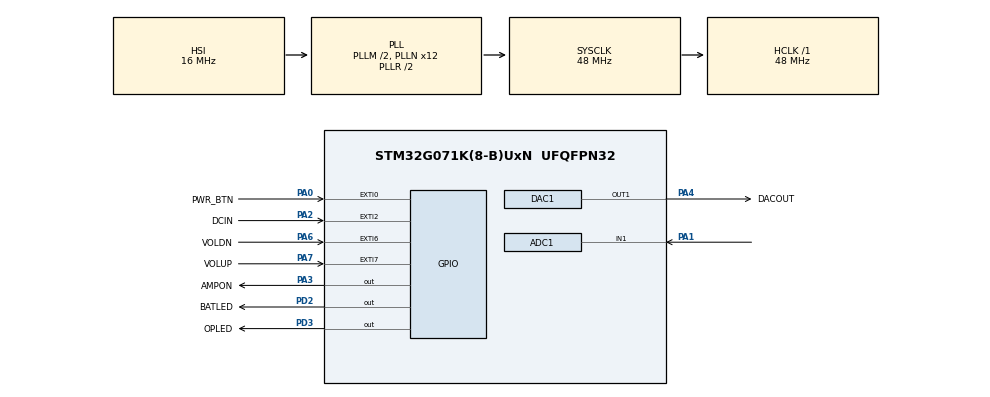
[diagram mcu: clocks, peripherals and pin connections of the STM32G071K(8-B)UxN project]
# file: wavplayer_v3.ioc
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Mcu.Family=STM32G0
RCC.CortexFreq_Value=48000000
PA0.GPIO_Label=PWR_BTN
PA14-BOOT0.Mode=Serial_Wire
VP_RTC_VS_RTC_Activate.Mode=RTC_Enabled
PA6.GPIO_Label=VOLDN
PC15-OSC32_OUT\ (PC15).Mode=LSE-External-Oscillator
ADC1.SamplingTimeCommon1=ADC_SAMPLETIME_160CYCLES_5
VP_RTC_VS_RTC_Alarm_A_Intern.Mode=Alarm A
RCC.SYSCLKSource=RCC_SYSCLKSOURCE_PLLCLK
ProjectManager.StackSize=0x400
PC14-OSC32_IN\ (PC14).Mode=LSE-External-Oscillator
RTC.Seconds_A-Alarm\ A=0
RCC.HCLKFreq_Value=48000000
TIM3.Period=10000-1
RCC.AHBFreq_Value=48000000
PA14-BOOT0.Signal=SYS_SWCLK
ADC1.Channel-0\#ChannelRegularConversion=ADC_CHANNEL_1
RCC.HSE_VALUE=8000000
RCC.RTCClockSelection=RCC_RTCCLKSOURCE_LSE
PA6.GPIO_PuPd=GPIO_PULLDOWN
TIM3.Prescaler=4800-1
NVIC.TIM2_IRQn=true\:0\:0\:false\:false\:true\:true\:true
VP_SYS_VS_DBSignals.Mode=DisableDeadBatterySignals
ADC1.SamplingTime-0\#ChannelRegularConversion=ADC_SAMPLINGTIME_COMMON_1
RTC.Hours_A-Alarm\ A=8
PA0.Signal=GPXTI0
ADC1.SelectedChannel=ADC_CHANNEL_1
Mcu.Package=UFQFPN32
PA6.Signal=GPXTI6
PA0.GPIO_PuPd=GPIO_NOPULL
PA2.GPIO_Label=DCIN
VP_RTC_VS_RTC_Calendar.Mode=RTC_Calendar
PD3.GPIO_Label=OPLED
PA4.GPIO_Label=DACOUT
VP_TIM3_VS_ClockSourceINT.Mode=Internal
NVIC.EXTI4_15_IRQn=true\:0\:0\:false\:false\:true\:true\:true
PA3.Signal=GPIO_Output
ADC1.Rank-0\#ChannelRegularConversion=1
DAC1.DAC_Channel-DAC_OUT1=DAC_CHANNEL_1
PD3.Signal=GPIO_Output
NVIC.RTC_TAMP_IRQn=true\:0\:0\:false\:false\:true\:true\:true
RCC.EXTERNAL_CLOCK_VALUE=48000
PC15-OSC32_OUT\ (PC15).Signal=RCC_OSC32_OUT
PA13.Signal=SYS_SWDIO
ProjectManager.TargetToolchain=STM32CubeIDE
SH.COMP_DAC11_group.0=DAC1_OUT1,DAC_OUT1
PA7.GPIO_PuPd=GPIO_PULLDOWN
PA1.Signal=ADC1_IN1
board=custom
RCC.VCOOutputFreq_Value=96000000
NVIC.TIM3_IRQn=true\:0\:0\:false\:false\:true\:true\:true
PA1.Mode=IN1
VP_TIM2_VS_ClockSourceINT.Mode=Internal
RCC.ADCFreq_Value=48000000
TIM2.Period=1000-1
PA13.Mode=Serial_Wire
Mcu.Name=STM32G071K(8-B)UxN
RTC.Alarm-Alarm\ A=RTC_ALARM_A
PA2.Signal=GPXTI2
PA4.Signal=COMP_DAC11_group
RCC.SYSCLKFreq_VALUE=48000000
RTC.Hours=0
PA7.GPIO_Label=VOLUP
ADC1.master=1
PC14-OSC32_IN\ (PC14).Signal=RCC_OSC32_IN
ProjectManager.HeapSize=0x200
RCC.HSI_VALUE=16000000
ADC1.NbrOfConversionFlag=1
RCC.PLLM=RCC_PLLM_DIV2
RCC.PLLN=12
PA3.PinState=GPIO_PIN_SET
PD2.Signal=GPIO_Output
NVIC.ADC1_COMP_IRQn=true\:0\:0\:false\:false\:true\:true\:true
PD2.GPIO_Label=BATLED
PA3.GPIO_Label=AMPON
PA7.Signal=GPXTI7
NVIC.EXTI0_1_IRQn=true\:0\:0\:false\:false\:true\:true\:true

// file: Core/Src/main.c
/* USER CODE BEGIN Header */
/**
  ******************************************************************************
  * @file           : main.c
  * @brief          : Main program body
  ******************************************************************************
  * @attention
  *
  * <h2><center>&copy; Copyright (c) 2021 STMicroelectronics.
  * All rights reserved.</center></h2>
  *
  * This software component is licensed by ST under BSD 3-Clause license,
  * the "License"; You may not use this file except in compliance with the
  * License. You may obtain a copy of the License at:
  *                        opensource.org/licenses/BSD-3-Clause
  *
  ******************************************************************************
  */
/* USER CODE END Header */
#include "main.h"

/* USER CODE BEGIN Includes */
#include "test_wav.h"

/* USER CODE END Includes */

/* USER CODE BEGIN PTD */
typedef enum {
  TASK_INIT = 0,
  TASK_IDLE,
  TASK_CHARGE,
  TASK_PLAY,
} task_t;
typedef struct {
  task_t task;

  bool pwrPressed;
  bool battCheck;

  uint32_t volume_level;
} app_t;

/* USER CODE END PTD */

/* USER CODE BEGIN PD */
#define VOLUME_MIN 0
#define VOLUME_MAX 4
#define FLASH_PAGE_NUM 62
#define ADDR_VOLUME_LEVEL (FLASH_PAGE_NUM * FLASH_PAGE_SIZE + FLASH_BASE)

#define ADCVAL_CHARGED 1966
#define ADCVAL_LOWPWR 1592
#define ADCVAL_OFFPWR 1498

#define LED_ON(port, pin) HAL_GPIO_WritePin(port, pin, GPIO_PIN_SET)
#define LED_OFF(port, pin) HAL_GPIO_WritePin(port, pin, GPIO_PIN_RESET)
#define AMP_ON() HAL_GPIO_WritePin(AMPON_GPIO_Port, AMPON_Pin, GPIO_PIN_RESET)
#define AMP_OFF() HAL_GPIO_WritePin(AMPON_GPIO_Port, AMPON_Pin, GPIO_PIN_SET)

/* USER CODE END PD */

ADC_HandleTypeDef hadc1;

DAC_HandleTypeDef hdac1;

RTC_HandleTypeDef hrtc;

TIM_HandleTypeDef htim2;
TIM_HandleTypeDef htim3;

/* USER CODE BEGIN PV */
app_t app = {
  .task = TASK_INIT,

  .pwrPressed = false,
  .battCheck = false,

  .volume_level = VOLUME_MIN,
};

uint16_t adcValue = 2048;
uint16_t dacValue = 2048;
uint16_t ptr_dac = 0;
const uint8_t volume[5] = {10, 20, 30, 40, 50};

/* USER CODE END PV */

void SystemClock_Config(void);
static void MX_GPIO_Init(void);
static void MX_DAC1_Init(void);
static void MX_TIM2_Init(void);
static void MX_RTC_Init(void);
static void MX_ADC1_Init(void);
static void MX_TIM3_Init(void);

/* USER CODE BEGIN 0 */
void ledIndicate(void)
{
  LED_OFF(OPLED_GPIO_Port, OPLED_Pin); HAL_Delay(100);
  LED_ON(OPLED_GPIO_Port, OPLED_Pin); HAL_Delay(100);
  LED_OFF(OPLED_GPIO_Port, OPLED_Pin); HAL_Delay(100);
  LED_ON(OPLED_GPIO_Port, OPLED_Pin); HAL_Delay(100);
  LED_OFF(OPLED_GPIO_Port, OPLED_Pin); HAL_Delay(100);
}

void setGPIOsNothing(void)
{
  GPIO_InitTypeDef GPIO_InitStruct = {0};

  /*Configure GPIO pins : PAPin PAPin */
  GPIO_InitStruct.Pin = VOLUP_Pin|VOLDN_Pin;
  GPIO_InitStruct.Mode = GPIO_MODE_ANALOG;
  GPIO_InitStruct.Pull = GPIO_NOPULL;
  HAL_GPIO_Init(GPIOA, &GPIO_InitStruct);

  GPIO_InitStruct.Pin = AMPON_Pin;
  HAL_GPIO_Init(AMPON_GPIO_Port, &GPIO_InitStruct);

  GPIO_InitStruct.Pin = OPLED_Pin|BATLED_Pin;
  HAL_GPIO_Init(OPLED_GPIO_Port, &GPIO_InitStruct);

  /* EXTI interrupt init*/
  HAL_NVIC_DisableIRQ(EXTI4_15_IRQn);
}

void saveVolumeLevel(void)
{
  uint32_t error = 0;

  if (app.volume_level == *((__IO uint32_t*)ADDR_VOLUME_LEVEL)) {
    return;
  }

  HAL_FLASH_Unlock();
  FLASH_WaitForLastOperation(1000);
  __HAL_FLASH_CLEAR_FLAG(FLASH_FLAG_EOP|FLASH_FLAG_OPERR|FLASH_FLAG_PROGERR|
                        FLASH_FLAG_WRPERR|FLASH_FLAG_PGAERR|FLASH_FLAG_PGSERR);
  FLASH_EraseInitTypeDef FLASH_EraseInitStruct = {
    .TypeErase = FLASH_TYPEERASE_PAGES,
    .Page = FLASH_PAGE_NUM,
    .NbPages = 1,
    .Banks = FLASH_BANK_1
  };
  HAL_FLASHEx_Erase(&FLASH_EraseInitStruct, &error);
  FLASH_WaitForLastOperation(1000);
  HAL_FLASH_Program(FLASH_TYPEPROGRAM_DOUBLEWORD, ADDR_VOLUME_LEVEL, app.volume_level);
  HAL_FLASH_Lock();
  HAL_Delay(10);
}

void enterSleepMode(void)
{
  HAL_PWR_EnableWakeUpPin(PWR_WAKEUP_PIN1_HIGH | PWR_WAKEUP_PIN4_HIGH);
  __HAL_RCC_PWR_CLK_ENABLE();
  HAL_Delay(500);
  HAL_PWR_EnterSTOPMode(PWR_LOWPOWERREGULATOR_ON, PWR_STOPENTRY_WFE);
}

/* USER CODE END 0 */

int main(void)
{
  /* USER CODE BEGIN 1 */
  uint64_t flashTemp;

  /* USER CODE END 1 */

  /* MCU Configuration--------------------------------------------------------*/

  /* Reset of all peripherals, Initializes the Flash interface and the Systick. */
  HAL_Init();

  /* Configure the system clock */
  SystemClock_Config();

  /* Initialize all configured peripherals */
  MX_GPIO_Init();
  MX_DAC1_Init();
  MX_TIM2_Init();
  MX_RTC_Init();
  MX_ADC1_Init();
  MX_TIM3_Init();

  /* Infinite loop */
  while (1)
  {

    /* USER CODE BEGIN 3 */
    switch (app.task) {
      case TASK_INIT:
        flashTemp = *((__IO uint32_t*)ADDR_VOLUME_LEVEL);
        if (flashTemp >= VOLUME_MIN && flashTemp <= VOLUME_MAX) {
          app.volume_level = flashTemp;
        }

        AMP_ON();
        HAL_Delay(250);
        HAL_DAC_Start(&hdac1, DAC1_CHANNEL_1);
        HAL_TIM_Base_Start_IT(&htim2);

        HAL_ADC_Start_IT(&hadc1);
        HAL_TIM_Base_Start_IT(&htim3);

        if (HAL_GPIO_ReadPin(PWR_BTN_GPIO_Port, PWR_BTN_Pin) != GPIO_PIN_RESET) {
          app.task = TASK_PLAY;
        } else {
          if (HAL_GPIO_ReadPin(DCIN_GPIO_Port, DCIN_Pin) != GPIO_PIN_RESET) {
            app.task = TASK_CHARGE;
          } else {
            app.task = TASK_IDLE;
          }
        }
      break;
      case TASK_IDLE:
        while(ptr_dac != 0);
        HAL_TIM_Base_Stop_IT(&htim2);
        ptr_dac = 0;
        AMP_OFF();

        HAL_ADC_Stop_IT(&hadc1);
        HAL_TIM_Base_Stop_IT(&htim3);

        HAL_RTC_DeactivateAlarm(&hrtc, RTC_ALARM_A);

        ledIndicate();
        saveVolumeLevel();
        setGPIOsNothing();

        enterSleepMode();
        HAL_Delay(100);
        HAL_NVIC_SystemReset();
      break;
      case TASK_CHARGE:
        while(ptr_dac != 0);
        HAL_TIM_Base_Stop_IT(&htim2);
        ptr_dac = 0;
        AMP_OFF();

        while (app.task == TASK_CHARGE) {
          if (app.battCheck) {
            app.battCheck = false;
            if (adcValue >= ADCVAL_CHARGED) {
              LED_ON(OPLED_GPIO_Port, OPLED_Pin);
              LED_OFF(BATLED_GPIO_Port, BATLED_Pin);

            } else if (adcValue >= ADCVAL_LOWPWR) {
              LED_ON(OPLED_GPIO_Port, OPLED_Pin);
              LED_ON(BATLED_GPIO_Port, BATLED_Pin);

            } else if (adcValue >= ADCVAL_OFFPWR) {
              LED_OFF(OPLED_GPIO_Port, OPLED_Pin);
              LED_ON(BATLED_GPIO_Port, BATLED_Pin);

            } else if (adcValue < ADCVAL_OFFPWR) {
              for (int i = 0; i < 3; i++) {
                LED_OFF(BATLED_GPIO_Port, BATLED_Pin); HAL_Delay(200);
                LED_ON(BATLED_GPIO_Port, BATLED_Pin); HAL_Delay(200);
              }
              app.task = TASK_IDLE;
            }
          }

          if (app.pwrPressed) {
            app.pwrPressed = false;
            app.task = TASK_INIT;
          }

          if (HAL_GPIO_ReadPin(DCIN_GPIO_Port, DCIN_Pin) == GPIO_PIN_RESET) {
            app.task = TASK_INIT;
          }
        }
      break;
      case TASK_PLAY:

        if (app.battCheck) {
          app.battCheck = false;
          if (adcValue >= ADCVAL_CHARGED) {
            LED_ON(OPLED_GPIO_Port, OPLED_Pin);
            LED_OFF(BATLED_GPIO_Port, BATLED_Pin);

          } else if (adcValue >= ADCVAL_LOWPWR) {
            LED_ON(OPLED_GPIO_Port, OPLED_Pin);
            LED_ON(BATLED_GPIO_Port, BATLED_Pin);

          } else if (adcValue >= ADCVAL_OFFPWR) {
            LED_OFF(OPLED_GPIO_Port, OPLED_Pin);
            LED_ON(BATLED_GPIO_Port, BATLED_Pin);

          } else if (adcValue < ADCVAL_OFFPWR) {
            for (int i = 0; i < 3; i++) {
              LED_OFF(BATLED_GPIO_Port, BATLED_Pin); HAL_Delay(200);
              LED_ON(BATLED_GPIO_Port, BATLED_Pin); HAL_Delay(200);
            }
            app.task = TASK_IDLE;
          }

          if (HAL_GPIO_ReadPin(DCIN_GPIO_Port, DCIN_Pin) != GPIO_PIN_RESET) {
            LED_ON(OPLED_GPIO_Port, OPLED_Pin);
          }
        }

        if (app.pwrPressed) {
          app.pwrPressed = false;
          if (HAL_GPIO_ReadPin(DCIN_GPIO_Port, DCIN_Pin) != GPIO_PIN_RESET) {
            app.task = TASK_INIT;
          } else {
            app.task = TASK_IDLE;
          }
        }
      break;
    }
  }
  /* USER CODE END 3 */
}

void SystemClock_Config(void)
{
  RCC_OscInitTypeDef RCC_OscInitStruct = {0};
  RCC_ClkInitTypeDef RCC_ClkInitStruct = {0};
  RCC_PeriphCLKInitTypeDef PeriphClkInit = {0};

  /** Configure the main internal regulator output voltage
  */
  HAL_PWREx_ControlVoltageScaling(PWR_REGULATOR_VOLTAGE_SCALE1);
  /** Configure LSE Drive Capability
  */
  HAL_PWR_EnableBkUpAccess();
  __HAL_RCC_LSEDRIVE_CONFIG(RCC_LSEDRIVE_LOW);
  /** Initializes the RCC Oscillators according to the specified parameters
  * in the RCC_OscInitTypeDef structure.
  */
  RCC_OscInitStruct.OscillatorType = RCC_OSCILLATORTYPE_HSI|RCC_OSCILLATORTYPE_LSE;
  RCC_OscInitStruct.LSEState = RCC_LSE_ON;
  RCC_OscInitStruct.HSIState = RCC_HSI_ON;
  RCC_OscInitStruct.HSIDiv = RCC_HSI_DIV1;
  RCC_OscInitStruct.HSICalibrationValue = RCC_HSICALIBRATION_DEFAULT;
  RCC_OscInitStruct.PLL.PLLState = RCC_PLL_ON;
  RCC_OscInitStruct.PLL.PLLSource = RCC_PLLSOURCE_HSI;
  RCC_OscInitStruct.PLL.PLLM = RCC_PLLM_DIV2;
  RCC_OscInitStruct.PLL.PLLN = 12;
  RCC_OscInitStruct.PLL.PLLP = RCC_PLLP_DIV2;
  RCC_OscInitStruct.PLL.PLLQ = RCC_PLLQ_DIV2;
  RCC_OscInitStruct.PLL.PLLR = RCC_PLLR_DIV2;
  if (HAL_RCC_OscConfig(&RCC_OscInitStruct) != HAL_OK)
  {
    Error_Handler();
  }
  /** Initializes the CPU, AHB and APB buses clocks
  */
  RCC_ClkInitStruct.ClockType = RCC_CLOCKTYPE_HCLK|RCC_CLOCKTYPE_SYSCLK
                              |RCC_CLOCKTYPE_PCLK1;
  RCC_ClkInitStruct.SYSCLKSource = RCC_SYSCLKSOURCE_PLLCLK;
  RCC_ClkInitStruct.AHBCLKDivider = RCC_SYSCLK_DIV1;
  RCC_ClkInitStruct.APB1CLKDivider = RCC_HCLK_DIV1;

  if (HAL_RCC_ClockConfig(&RCC_ClkInitStruct, FLASH_LATENCY_1) != HAL_OK)
  {
    Error_Handler();
  }
  /** Initializes the peripherals clocks
  */
  PeriphClkInit.PeriphClockSelection = RCC_PERIPHCLK_RTC|RCC_PERIPHCLK_ADC;
  PeriphClkInit.AdcClockSelection = RCC_ADCCLKSOURCE_SYSCLK;
  PeriphClkInit.RTCClockSelection = RCC_RTCCLKSOURCE_LSE;

  if (HAL_RCCEx_PeriphCLKConfig(&PeriphClkInit) != HAL_OK)
  {
    Error_Handler();
  }
}

static void MX_ADC1_Init(void)
{

  ADC_ChannelConfTypeDef sConfig = {0};

  /** Configure the global features of the ADC (Clock, Resolution, Data Alignment and number of conversion)
  */
  hadc1.Instance = ADC1;
  hadc1.Init.ClockPrescaler = ADC_CLOCK_SYNC_PCLK_DIV4;
  hadc1.Init.Resolution = ADC_RESOLUTION_12B;
  hadc1.Init.DataAlign = ADC_DATAALIGN_RIGHT;
  hadc1.Init.ScanConvMode = ADC_SCAN_DISABLE;
  hadc1.Init.EOCSelection = ADC_EOC_SINGLE_CONV;
  hadc1.Init.LowPowerAutoWait = DISABLE;
  hadc1.Init.LowPowerAutoPowerOff = DISABLE;
  hadc1.Init.ContinuousConvMode = DISABLE;
  hadc1.Init.NbrOfConversion = 1;
  hadc1.Init.DiscontinuousConvMode = DISABLE;
  hadc1.Init.ExternalTrigConv = ADC_SOFTWARE_START;
  hadc1.Init.ExternalTrigConvEdge = ADC_EXTERNALTRIGCONVEDGE_NONE;
  hadc1.Init.DMAContinuousRequests = DISABLE;
  hadc1.Init.Overrun = ADC_OVR_DATA_PRESERVED;
  hadc1.Init.SamplingTimeCommon1 = ADC_SAMPLETIME_160CYCLES_5;
  hadc1.Init.SamplingTimeCommon2 = ADC_SAMPLETIME_1CYCLE_5;
  hadc1.Init.OversamplingMode = DISABLE;
  hadc1.Init.TriggerFrequencyMode = ADC_TRIGGER_FREQ_HIGH;
  if (HAL_ADC_Init(&hadc1) != HAL_OK)
  {
    Error_Handler();
  }
  /** Configure Regular Channel
  */
  sConfig.Channel = ADC_CHANNEL_1;
  sConfig.Rank = ADC_REGULAR_RANK_1;
  sConfig.SamplingTime = ADC_SAMPLINGTIME_COMMON_1;
  if (HAL_ADC_ConfigChannel(&hadc1, &sConfig) != HAL_OK)
  {
    Error_Handler();
  }

}

static void MX_DAC1_Init(void)
{

  DAC_ChannelConfTypeDef sConfig = {0};

  /** DAC Initialization
  */
  hdac1.Instance = DAC1;
  if (HAL_DAC_Init(&hdac1) != HAL_OK)
  {
    Error_Handler();
  }
  /** DAC channel OUT1 config
  */
  sConfig.DAC_SampleAndHold = DAC_SAMPLEANDHOLD_DISABLE;
  sConfig.DAC_Trigger = DAC_TRIGGER_NONE;
  sConfig.DAC_OutputBuffer = DAC_OUTPUTBUFFER_ENABLE;
  sConfig.DAC_ConnectOnChipPeripheral = DAC_CHIPCONNECT_DISABLE;
  sConfig.DAC_UserTrimming = DAC_TRIMMING_FACTORY;
  if (HAL_DAC_ConfigChannel(&hdac1, &sConfig, DAC_CHANNEL_1) != HAL_OK)
  {
    Error_Handler();
  }

}

static void MX_RTC_Init(void)
{

  RTC_TimeTypeDef sTime = {0};
  RTC_DateTypeDef sDate = {0};
  RTC_AlarmTypeDef sAlarm = {0};

  /** Initialize RTC Only
  */
  hrtc.Instance = RTC;
  hrtc.Init.HourFormat = RTC_HOURFORMAT_24;
  hrtc.Init.AsynchPrediv = 127;
  hrtc.Init.SynchPrediv = 255;
  hrtc.Init.OutPut = RTC_OUTPUT_DISABLE;
  hrtc.Init.OutPutRemap = RTC_OUTPUT_REMAP_NONE;
  hrtc.Init.OutPutPolarity = RTC_OUTPUT_POLARITY_HIGH;
  hrtc.Init.OutPutType = RTC_OUTPUT_TYPE_OPENDRAIN;
  hrtc.Init.OutPutPullUp = RTC_OUTPUT_PULLUP_NONE;
  if (HAL_RTC_Init(&hrtc) != HAL_OK)
  {
    Error_Handler();
  }

  /** Initialize RTC and set the Time and Date
  */
  sTime.Hours = 0x0;
  sTime.Minutes = 0x0;
  sTime.Seconds = 0x0;
  sTime.SubSeconds = 0x0;
  sTime.DayLightSaving = RTC_DAYLIGHTSAVING_NONE;
  sTime.StoreOperation = RTC_STOREOPERATION_RESET;
  if (HAL_RTC_SetTime(&hrtc, &sTime, RTC_FORMAT_BCD) != HAL_OK)
  {
    Error_Handler();
  }
  sDate.WeekDay = RTC_WEEKDAY_MONDAY;
  sDate.Month = RTC_MONTH_JANUARY;
  sDate.Date = 0x1;
  sDate.Year = 0x0;

  if (HAL_RTC_SetDate(&hrtc, &sDate, RTC_FORMAT_BCD) != HAL_OK)
  {
    Error_Handler();
  }
  /** Enable the Alarm A
  */
  sAlarm.AlarmTime.Hours = 0x8;
  sAlarm.AlarmTime.Minutes = 0x0;
  sAlarm.AlarmTime.Seconds = 0x0;
  sAlarm.AlarmTime.SubSeconds = 0x0;
  sAlarm.AlarmTime.DayLightSaving = RTC_DAYLIGHTSAVING_NONE;
  sAlarm.AlarmTime.StoreOperation = RTC_STOREOPERATION_RESET;
  sAlarm.AlarmMask = RTC_ALARMMASK_NONE;
  sAlarm.AlarmSubSecondMask = RTC_ALARMSUBSECONDMASK_ALL;
  sAlarm.AlarmDateWeekDaySel = RTC_ALARMDATEWEEKDAYSEL_DATE;
  sAlarm.AlarmDateWeekDay = 0x1;
  sAlarm.Alarm = RTC_ALARM_A;
  if (HAL_RTC_SetAlarm_IT(&hrtc, &sAlarm, RTC_FORMAT_BCD) != HAL_OK)
  {
    Error_Handler();
  }

}

static void MX_TIM2_Init(void)
{

  TIM_ClockConfigTypeDef sClockSourceConfig = {0};
  TIM_MasterConfigTypeDef sMasterConfig = {0};

  htim2.Instance = TIM2;
  htim2.Init.Prescaler = 0;
  htim2.Init.CounterMode = TIM_COUNTERMODE_UP;
  htim2.Init.Period = 1000-1;
  htim2.Init.ClockDivision = TIM_CLOCKDIVISION_DIV1;
  htim2.Init.AutoReloadPreload = TIM_AUTORELOAD_PRELOAD_DISABLE;
  if (HAL_TIM_Base_Init(&htim2) != HAL_OK)
  {
    Error_Handler();
  }
  sClockSourceConfig.ClockSource = TIM_CLOCKSOURCE_INTERNAL;
  if (HAL_TIM_ConfigClockSource(&htim2, &sClockSourceConfig) != HAL_OK)
  {
    Error_Handler();
  }
  sMasterConfig.MasterOutputTrigger = TIM_TRGO_RESET;
  sMasterConfig.MasterSlaveMode = TIM_MASTERSLAVEMODE_DISABLE;
  if (HAL_TIMEx_MasterConfigSynchronization(&htim2, &sMasterConfig) != HAL_OK)
  {
    Error_Handler();
  }

}

static void MX_TIM3_Init(void)
{

  TIM_ClockConfigTypeDef sClockSourceConfig = {0};
  TIM_MasterConfigTypeDef sMasterConfig = {0};

  htim3.Instance = TIM3;
  htim3.Init.Prescaler = 4800-1;
  htim3.Init.CounterMode = TIM_COUNTERMODE_UP;
  htim3.Init.Period = 10000-1;
  htim3.Init.ClockDivision = TIM_CLOCKDIVISION_DIV1;
  htim3.Init.AutoReloadPreload = TIM_AUTORELOAD_PRELOAD_DISABLE;
  if (HAL_TIM_Base_Init(&htim3) != HAL_OK)
  {
    Error_Handler();
  }
  sClockSourceConfig.ClockSource = TIM_CLOCKSOURCE_INTERNAL;
  if (HAL_TIM_ConfigClockSource(&htim3, &sClockSourceConfig) != HAL_OK)
  {
    Error_Handler();
  }
  sMasterConfig.MasterOutputTrigger = TIM_TRGO_RESET;
  sMasterConfig.MasterSlaveMode = TIM_MASTERSLAVEMODE_DISABLE;
  if (HAL_TIMEx_MasterConfigSynchronization(&htim3, &sMasterConfig) != HAL_OK)
  {
    Error_Handler();
  }

}

static void MX_GPIO_Init(void)
{
  GPIO_InitTypeDef GPIO_InitStruct = {0};

  /* GPIO Ports Clock Enable */
  __HAL_RCC_GPIOB_CLK_ENABLE();
  __HAL_RCC_GPIOC_CLK_ENABLE();
  __HAL_RCC_GPIOF_CLK_ENABLE();
  __HAL_RCC_GPIOA_CLK_ENABLE();
  __HAL_RCC_GPIOD_CLK_ENABLE();

  /*Configure GPIO pin Output Level */
  HAL_GPIO_WritePin(AMPON_GPIO_Port, AMPON_Pin, GPIO_PIN_SET);

  /*Configure GPIO pin Output Level */
  HAL_GPIO_WritePin(GPIOD, BATLED_Pin|OPLED_Pin, GPIO_PIN_RESET);

  /*Configure GPIO pins : PB9 PB0 PB1 PB15
                           PB6 PB7 PB8 */
  GPIO_InitStruct.Pin = GPIO_PIN_9|GPIO_PIN_0|GPIO_PIN_1|GPIO_PIN_15
                          |GPIO_PIN_6|GPIO_PIN_7|GPIO_PIN_8;
  GPIO_InitStruct.Mode = GPIO_MODE_ANALOG;
  GPIO_InitStruct.Pull = GPIO_NOPULL;
  HAL_GPIO_Init(GPIOB, &GPIO_InitStruct);

  /*Configure GPIO pin : PF2 */
  GPIO_InitStruct.Pin = GPIO_PIN_2;
  GPIO_InitStruct.Mode = GPIO_MODE_ANALOG;
  GPIO_InitStruct.Pull = GPIO_NOPULL;
  HAL_GPIO_Init(GPIOF, &GPIO_InitStruct);

  /*Configure GPIO pins : PWR_BTN_Pin DCIN_Pin */
  GPIO_InitStruct.Pin = PWR_BTN_Pin|DCIN_Pin;
  GPIO_InitStruct.Mode = GPIO_MODE_IT_RISING;
  GPIO_InitStruct.Pull = GPIO_NOPULL;
  HAL_GPIO_Init(GPIOA, &GPIO_InitStruct);

  /*Configure GPIO pin : AMPON_Pin */
  GPIO_InitStruct.Pin = AMPON_Pin;
  GPIO_InitStruct.Mode = GPIO_MODE_OUTPUT_PP;
  GPIO_InitStruct.Pull = GPIO_NOPULL;
  GPIO_InitStruct.Speed = GPIO_SPEED_FREQ_LOW;
  HAL_GPIO_Init(AMPON_GPIO_Port, &GPIO_InitStruct);

  /*Configure GPIO pins : PA5 PA8 PA9 PA10
                           PA11 PA12 */
  GPIO_InitStruct.Pin = GPIO_PIN_5|GPIO_PIN_8|GPIO_PIN_9|GPIO_PIN_10
                          |GPIO_PIN_11|GPIO_PIN_12;
  GPIO_InitStruct.Mode = GPIO_MODE_ANALOG;
  GPIO_InitStruct.Pull = GPIO_NOPULL;
  HAL_GPIO_Init(GPIOA, &GPIO_InitStruct);

  /*Configure GPIO pins : VOLDN_Pin VOLUP_Pin */
  GPIO_InitStruct.Pin = VOLDN_Pin|VOLUP_Pin;
  GPIO_InitStruct.Mode = GPIO_MODE_IT_RISING;
  GPIO_InitStruct.Pull = GPIO_PULLDOWN;
  HAL_GPIO_Init(GPIOA, &GPIO_InitStruct);

  /*Configure GPIO pin : PC6 */
  GPIO_InitStruct.Pin = GPIO_PIN_6;
  GPIO_InitStruct.Mode = GPIO_MODE_ANALOG;
  GPIO_InitStruct.Pull = GPIO_NOPULL;
  HAL_GPIO_Init(GPIOC, &GPIO_InitStruct);

  /*Configure GPIO pins : PD0 PD1 */
  GPIO_InitStruct.Pin = GPIO_PIN_0|GPIO_PIN_1;
  GPIO_InitStruct.Mode = GPIO_MODE_ANALOG;
  GPIO_InitStruct.Pull = GPIO_NOPULL;
  HAL_GPIO_Init(GPIOD, &GPIO_InitStruct);

  /*Configure GPIO pins : BATLED_Pin OPLED_Pin */
  GPIO_InitStruct.Pin = BATLED_Pin|OPLED_Pin;
  GPIO_InitStruct.Mode = GPIO_MODE_OUTPUT_PP;
  GPIO_InitStruct.Pull = GPIO_NOPULL;
  GPIO_InitStruct.Speed = GPIO_SPEED_FREQ_LOW;
  HAL_GPIO_Init(GPIOD, &GPIO_InitStruct);

  /* EXTI interrupt init*/
  HAL_NVIC_SetPriority(EXTI0_1_IRQn, 0, 0);
  HAL_NVIC_EnableIRQ(EXTI0_1_IRQn);

  HAL_NVIC_SetPriority(EXTI4_15_IRQn, 0, 0);
  HAL_NVIC_EnableIRQ(EXTI4_15_IRQn);

}

/* USER CODE BEGIN 4 */
void HAL_TIM_PeriodElapsedCallback(TIM_HandleTypeDef *htim)
{
  if (htim->Instance == htim2.Instance) {
    HAL_DAC_SetValue(&hdac1, DAC1_CHANNEL_1, DAC_ALIGN_12B_R, dacValue);
    dacValue = test_wav[ptr_dac++];
    dacValue = dacValue * volume[app.volume_level] / 100;
    if (ptr_dac == NUM_ELEMENTS) {
      ptr_dac = 0;
    }
  } else if (htim->Instance == htim3.Instance) {
    HAL_ADC_Start_IT(&hadc1);
  }
}

void HAL_GPIO_EXTI_Rising_Callback(uint16_t GPIO_Pin)
{
  switch (GPIO_Pin) {
    case PWR_BTN_Pin:
      app.pwrPressed = true;
    break;
    case VOLUP_Pin:
      if (app.volume_level > VOLUME_MIN) {
        app.volume_level--;
      }
    break;
    case VOLDN_Pin:
      if (app.volume_level < VOLUME_MAX) {
        app.volume_level++;
      }
    break;
  }
}

void HAL_RTC_AlarmAEventCallback(RTC_HandleTypeDef *hrtc)
{
  app.pwrPressed = true;
}

void HAL_ADC_ConvCpltCallback(ADC_HandleTypeDef *hadc)
{
  adcValue = HAL_ADC_GetValue(hadc);
  app.battCheck = true;
}

/* USER CODE END 4 */

void Error_Handler(void)
{
  __disable_irq();
  while (1)
  {
  }
}

/************************ (C) COPYRIGHT STMicroelectronics *****END OF FILE****/
